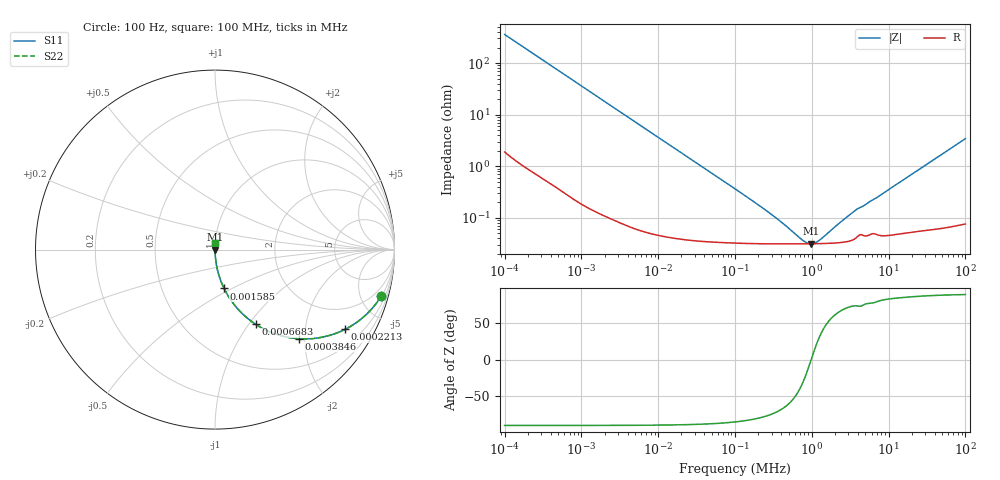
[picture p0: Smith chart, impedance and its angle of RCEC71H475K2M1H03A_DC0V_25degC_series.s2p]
!Murata Part Number: RCEC71H475K2M1H03A
!These Parameters are Measured in Series Mode Connection
!  o--ll--o
!Port1  Port2
!  o------o
!Operation Temp=25[degC], DC Bias Voltage=0[V]
!Freq. Start=100[Hz] Stop=100[MHz], 401[Steps]
!Data Generated on Feb 18, 2020
# Hz S RI R 50
!Freq.(Hz) S11(Real) S11(Imag) S21(Real) S21(Imag) S12(Real) S12(Imag) S22(Real) S22(Imag)
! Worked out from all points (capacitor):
!   401 points, 100 Hz to 100 MHz, reference 50 ohm
!   read as one part in series: C = 4.43 uF near 107.2 Hz
!   lowest |Z| = 31.1 mohm at 977.2 kHz (marker M1)
!   series resonance near 981 kHz, so ESL is about 5.9 nH
!   S11 on the Smith chart (normalised r, x): 100 Hz: 1.04, -7.18; 221.3 Hz: 1.02, -3.25; 384.6 Hz: 1.01, -1.87; 668.3 Hz: 1.01, -1.08; 1.585 kHz: 1.00, -0.46; 100 MHz: 1.00, +0.07
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100  0.9268 -0.2578  0.0732 0.2578  0.0732 0.2578  0.9268 -0.2578
151.3561  0.8481 -0.3565  0.1519 0.3565  0.1519 0.3565  0.8481 -0.3565
221.3095  0.7244 -0.4443  0.2756 0.4443  0.2756 0.4443  0.7244 -0.4443
291.7427  0.6031 -0.4868  0.3969 0.4868  0.3969 0.4868  0.6031 -0.4868
384.5918  0.4676 -0.4964  0.5324 0.4964  0.5324 0.4964  0.4676 -0.4964
489.7788  0.3522 -0.4752  0.6478 0.4752  0.6478 0.4752  0.3522 -0.4752
668.3439  0.2269 -0.4164  0.7731 0.4164  0.7731 0.4164  0.2269 -0.4164
1011.579  0.1144 -0.3157  0.8856 0.3157  0.8856 0.3157  0.1144 -0.3157
1584.893  0.0506 -0.2164  0.9494 0.2164  0.9494 0.2164  0.0506 -0.2164
3630.781  0.0106 -0.0987  0.9894 0.0987  0.9894 0.0987  0.0106 -0.0987
10232.93  0.00171 -0.0354  0.9983 0.0354  0.9983 0.0354  0.00171 -0.0354
100000  0.000334 -0.00362  0.9997 0.00362  0.9997 0.00362  0.000334 -0.00362
312607.9  0.000311 -0.00105  0.9997 0.00105  0.9997 0.00105  0.000311 -0.00105
767361.5  0.00031 -0.000185  0.9997 0.000185  0.9997 0.000185  0.00031 -0.000185
881048.9  0.000311 -8.05e-05  0.9997 8.05e-05  0.9997 8.05e-05  0.000311 -8.05e-05
977237.2  0.000311 -2.86e-06  0.9997 2.86e-06  0.9997 2.86e-06  0.000311 -2.86e-06
1011579  0.000312 2.3e-05  0.9997 -2.3e-05  0.9997 -2.3e-05  0.000312 2.3e-05
1122018  0.000312 0.000101  0.9997 -0.000101  0.9997 -0.000101  0.000312 0.000101
1288250  0.000314 0.000206  0.9997 -0.000206  0.9997 -0.000206  0.000314 0.000206
3758374  0.000406 0.00136  0.9996 -0.00136  0.9996 -0.00136  0.000406 0.00136
1.023293e7  0.000466 0.00355  0.9995 -0.00355  0.9995 -0.00355  0.000466 0.00355
1e8  0.00192 0.0341  0.9981 -0.0341  0.9981 -0.0341  0.00192 0.0341
